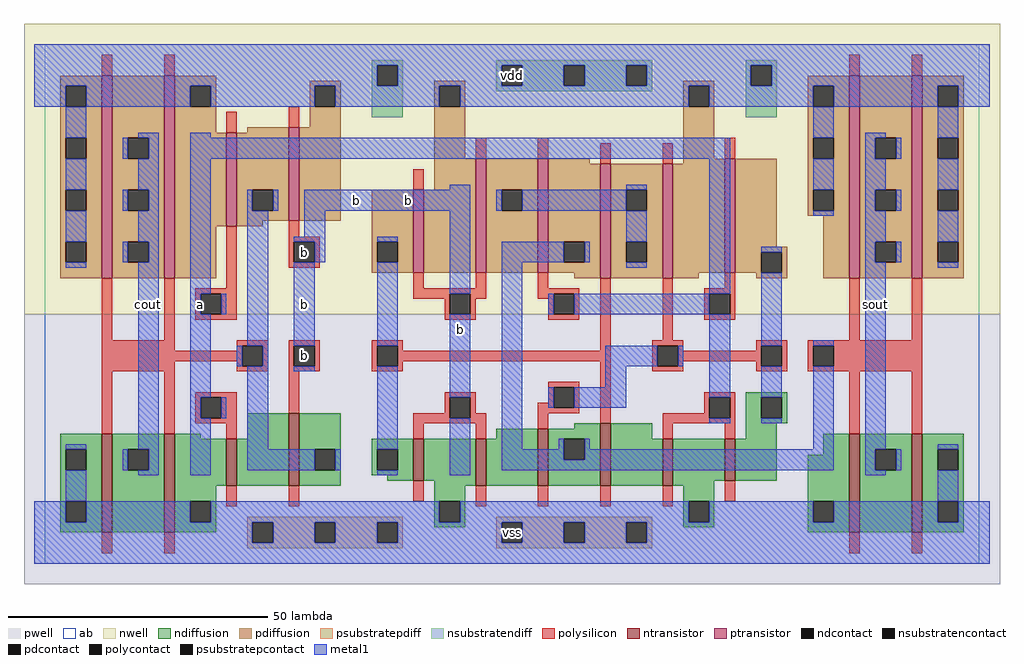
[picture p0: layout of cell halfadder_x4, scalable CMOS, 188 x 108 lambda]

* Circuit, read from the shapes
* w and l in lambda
.subckt halfadder_x4 a b cout sout vdd vss
M1 cout n1 vss vss nfet w=19 l=2 m=2
M2 n2 a vss vss nfet w=9 l=2
M3 n1 b n2 vss nfet w=14 l=2
M4 vss b n3 vss nfet w=8 l=2
M5 n4 b vss vss nfet w=9 l=2
M6 n5 n6 n4 vss nfet w=11 l=2
M7 n7 n3 n5 vss nfet w=12 l=2
M8 vss a n7 vss nfet w=9 l=2
M9 n6 a vss vss nfet w=8 l=2
M10 sout n5 vss vss nfet w=19 l=2 m=2
M11 cout n1 vdd vdd pfet w=39 l=2 m=2
M12 n1 a vdd vdd pfet w=18 l=2
M13 vdd b n1 vdd pfet w=18 l=2
M14 vdd b n3 vdd pfet w=16 l=2
M15 n8 b vdd vdd pfet w=22 l=2
M16 n5 a n8 vdd pfet w=22 l=2
M17 n8 n3 n5 vdd pfet w=22 l=2
M18 vdd n6 n8 vdd pfet w=22 l=2
M19 n6 a vdd vdd pfet w=22 l=2
M20 sout n5 vdd vdd pfet w=39 l=2 m=2
.ends

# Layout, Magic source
magic
tech scmos
<< ab >>
rect 0 0 180 100
<< pwell >>
rect -4 -4 184 48
<< nwell >>
rect -4 48 184 104
<< polysilicon >>
rect 11 94 13 98
rect 23 94 25 98
rect 35 83 37 87
rect 47 84 49 88
rect 83 78 85 82
rect 95 78 97 82
rect 71 72 73 76
rect 11 43 13 55
rect 23 43 25 55
rect 35 53 37 65
rect 47 63 49 66
rect 47 62 53 63
rect 47 58 48 62
rect 52 58 53 62
rect 47 57 53 58
rect 107 77 109 81
rect 119 77 121 81
rect 155 94 157 98
rect 167 94 169 98
rect 131 78 133 82
rect 29 52 37 53
rect 29 48 30 52
rect 34 48 37 52
rect 71 53 73 56
rect 83 53 85 56
rect 71 52 85 53
rect 71 51 78 52
rect 29 47 37 48
rect 77 48 78 51
rect 82 51 85 52
rect 95 53 97 56
rect 95 52 103 53
rect 95 51 98 52
rect 82 48 83 51
rect 77 47 83 48
rect 97 48 98 51
rect 102 48 103 52
rect 97 47 103 48
rect 11 41 25 43
rect 37 42 43 43
rect 37 41 38 42
rect 11 39 38 41
rect 11 37 25 39
rect 37 38 38 39
rect 42 38 43 42
rect 37 37 43 38
rect 47 42 53 43
rect 47 38 48 42
rect 52 38 53 42
rect 47 37 53 38
rect 63 42 69 43
rect 63 38 64 42
rect 68 41 69 42
rect 107 41 109 55
rect 119 43 121 55
rect 131 53 133 56
rect 127 52 133 53
rect 127 48 128 52
rect 132 48 133 52
rect 127 47 133 48
rect 155 43 157 55
rect 167 43 169 55
rect 68 39 109 41
rect 68 38 69 39
rect 63 37 69 38
rect 11 25 13 37
rect 23 25 25 37
rect 29 32 37 33
rect 29 28 30 32
rect 34 28 37 32
rect 47 29 49 37
rect 97 34 103 35
rect 77 32 83 33
rect 77 29 78 32
rect 29 27 37 28
rect 35 24 37 27
rect 71 28 78 29
rect 82 29 83 32
rect 97 31 98 34
rect 95 30 98 31
rect 102 30 103 34
rect 95 29 103 30
rect 82 28 85 29
rect 71 27 85 28
rect 71 24 73 27
rect 83 24 85 27
rect 95 26 97 29
rect 107 27 109 39
rect 117 42 123 43
rect 117 38 118 42
rect 122 41 123 42
rect 137 42 143 43
rect 137 41 138 42
rect 122 39 138 41
rect 122 38 123 39
rect 117 37 123 38
rect 137 38 138 39
rect 142 38 143 42
rect 137 37 143 38
rect 147 42 169 43
rect 147 38 148 42
rect 152 38 169 42
rect 147 37 169 38
rect 127 32 133 33
rect 127 29 128 32
rect 119 28 128 29
rect 132 28 133 32
rect 119 27 133 28
rect 35 11 37 15
rect 47 11 49 15
rect 71 12 73 16
rect 119 24 121 27
rect 131 24 133 27
rect 155 25 157 37
rect 167 25 169 37
rect 11 2 13 6
rect 23 2 25 6
rect 83 11 85 15
rect 95 11 97 15
rect 107 11 109 15
rect 119 11 121 15
rect 131 12 133 16
rect 155 2 157 6
rect 167 2 169 6
<< ndiffusion >>
rect 3 22 11 25
rect 3 18 4 22
rect 8 18 11 22
rect 3 12 11 18
rect 3 8 4 12
rect 8 8 11 12
rect 3 6 11 8
rect 13 22 23 25
rect 13 18 16 22
rect 20 18 23 22
rect 13 6 23 18
rect 25 24 30 25
rect 39 24 47 29
rect 25 15 35 24
rect 37 15 47 24
rect 49 22 57 29
rect 102 26 107 27
rect 87 24 95 26
rect 49 18 52 22
rect 56 18 57 22
rect 49 15 57 18
rect 63 22 71 24
rect 63 18 64 22
rect 68 18 71 22
rect 63 17 71 18
rect 66 16 71 17
rect 73 16 83 24
rect 25 12 33 15
rect 25 8 28 12
rect 32 8 33 12
rect 75 15 83 16
rect 85 15 95 24
rect 97 24 107 26
rect 97 20 100 24
rect 104 20 107 24
rect 97 15 107 20
rect 109 24 117 27
rect 135 32 143 33
rect 135 28 138 32
rect 142 28 143 32
rect 135 27 143 28
rect 135 24 141 27
rect 109 15 119 24
rect 121 16 131 24
rect 133 16 141 24
rect 150 21 155 25
rect 121 15 129 16
rect 75 12 81 15
rect 25 6 33 8
rect 75 8 76 12
rect 80 8 81 12
rect 123 12 129 15
rect 147 12 155 21
rect 75 7 81 8
rect 123 8 124 12
rect 128 8 129 12
rect 123 7 129 8
rect 147 8 148 12
rect 152 8 155 12
rect 147 6 155 8
rect 157 22 167 25
rect 157 18 160 22
rect 164 18 167 22
rect 157 6 167 18
rect 169 22 177 25
rect 169 18 172 22
rect 176 18 177 22
rect 169 12 177 18
rect 169 8 172 12
rect 176 8 177 12
rect 169 6 177 8
<< pdiffusion >>
rect 3 92 11 94
rect 3 88 4 92
rect 8 88 11 92
rect 3 82 11 88
rect 3 78 4 82
rect 8 78 11 82
rect 3 72 11 78
rect 3 68 4 72
rect 8 68 11 72
rect 3 62 11 68
rect 3 58 4 62
rect 8 58 11 62
rect 3 55 11 58
rect 13 82 23 94
rect 13 78 16 82
rect 20 78 23 82
rect 13 72 23 78
rect 13 68 16 72
rect 20 68 23 72
rect 13 62 23 68
rect 13 58 16 62
rect 20 58 23 62
rect 13 55 23 58
rect 25 92 33 94
rect 25 88 28 92
rect 32 88 33 92
rect 51 92 57 93
rect 51 88 52 92
rect 56 88 57 92
rect 25 83 33 88
rect 51 84 57 88
rect 75 92 81 93
rect 75 88 76 92
rect 80 88 81 92
rect 123 92 129 93
rect 39 83 47 84
rect 25 65 35 83
rect 37 72 47 83
rect 37 68 40 72
rect 44 68 47 72
rect 37 66 47 68
rect 49 66 57 84
rect 75 78 81 88
rect 123 88 124 92
rect 128 88 129 92
rect 75 72 83 78
rect 37 65 42 66
rect 25 55 33 65
rect 63 62 71 72
rect 63 58 64 62
rect 68 58 71 62
rect 63 56 71 58
rect 73 56 83 72
rect 85 72 95 78
rect 85 68 88 72
rect 92 68 95 72
rect 85 56 95 68
rect 97 77 105 78
rect 123 78 129 88
rect 147 92 155 94
rect 147 88 148 92
rect 152 88 155 92
rect 147 82 155 88
rect 147 78 148 82
rect 152 78 155 82
rect 123 77 131 78
rect 97 62 107 77
rect 97 58 100 62
rect 104 58 107 62
rect 97 56 107 58
rect 102 55 107 56
rect 109 72 119 77
rect 109 68 112 72
rect 116 68 119 72
rect 109 62 119 68
rect 109 58 112 62
rect 116 58 119 62
rect 109 55 119 58
rect 121 56 131 77
rect 133 61 141 78
rect 147 72 155 78
rect 147 68 148 72
rect 152 68 155 72
rect 147 67 155 68
rect 133 60 143 61
rect 133 56 138 60
rect 142 56 143 60
rect 121 55 126 56
rect 137 55 143 56
rect 150 55 155 67
rect 157 82 167 94
rect 157 78 160 82
rect 164 78 167 82
rect 157 72 167 78
rect 157 68 160 72
rect 164 68 167 72
rect 157 62 167 68
rect 157 58 160 62
rect 164 58 167 62
rect 157 55 167 58
rect 169 92 177 94
rect 169 88 172 92
rect 176 88 177 92
rect 169 82 177 88
rect 169 78 172 82
rect 176 78 177 82
rect 169 72 177 78
rect 169 68 172 72
rect 176 68 177 72
rect 169 62 177 68
rect 169 58 172 62
rect 176 58 177 62
rect 169 55 177 58
<< metal1 >>
rect -2 96 182 100
rect -2 92 64 96
rect 68 92 88 96
rect 92 92 100 96
rect 104 92 112 96
rect 116 92 136 96
rect 140 92 182 96
rect -2 88 4 92
rect 8 88 28 92
rect 32 88 52 92
rect 56 88 76 92
rect 80 88 124 92
rect 128 88 148 92
rect 152 88 172 92
rect 176 88 182 92
rect 4 82 8 88
rect 18 82 22 83
rect 15 78 16 82
rect 20 78 22 82
rect 4 72 8 78
rect 18 72 22 78
rect 15 68 16 72
rect 20 68 22 72
rect 4 62 8 68
rect 18 62 22 68
rect 15 58 16 62
rect 20 58 22 62
rect 4 57 8 58
rect 4 22 8 23
rect 18 22 22 58
rect 15 18 16 22
rect 20 18 22 22
rect 4 12 8 18
rect 18 17 22 18
rect 28 82 32 83
rect 148 82 152 88
rect 28 78 132 82
rect 28 52 32 78
rect 78 72 82 73
rect 112 72 116 73
rect 39 68 40 72
rect 44 68 45 72
rect 50 68 82 72
rect 87 68 88 72
rect 92 68 112 72
rect 28 48 30 52
rect 34 48 35 52
rect 28 32 32 48
rect 39 42 43 68
rect 50 63 54 68
rect 37 38 38 42
rect 42 38 43 42
rect 28 28 30 32
rect 34 28 35 32
rect 28 17 32 28
rect 39 22 43 38
rect 48 62 54 63
rect 52 58 54 62
rect 64 62 68 63
rect 48 42 52 58
rect 48 37 52 38
rect 64 42 68 58
rect 64 22 68 38
rect 39 18 52 22
rect 56 18 57 22
rect 64 17 68 18
rect 78 52 82 68
rect 112 62 116 68
rect 78 32 82 48
rect 78 17 82 28
rect 88 58 100 62
rect 104 58 105 62
rect 88 22 92 58
rect 112 57 116 58
rect 128 52 132 78
rect 148 72 152 78
rect 148 67 152 68
rect 158 82 162 83
rect 172 82 176 88
rect 158 78 160 82
rect 164 78 165 82
rect 158 72 162 78
rect 172 72 176 78
rect 158 68 160 72
rect 164 68 165 72
rect 158 62 162 68
rect 172 62 176 68
rect 97 48 98 52
rect 102 48 128 52
rect 108 38 118 42
rect 122 38 123 42
rect 108 34 112 38
rect 97 30 98 34
rect 102 30 112 34
rect 128 32 132 48
rect 128 27 132 28
rect 138 60 142 61
rect 138 42 142 56
rect 158 58 160 62
rect 164 58 165 62
rect 138 32 142 38
rect 138 27 142 28
rect 148 42 152 43
rect 99 22 100 24
rect 88 20 100 22
rect 104 22 105 24
rect 148 22 152 38
rect 104 20 152 22
rect 88 18 152 20
rect 158 22 162 58
rect 172 57 176 58
rect 172 22 176 23
rect 158 18 160 22
rect 164 18 165 22
rect 158 17 162 18
rect 172 12 176 18
rect -2 8 4 12
rect 8 8 28 12
rect 32 8 76 12
rect 80 8 124 12
rect 128 8 148 12
rect 152 8 172 12
rect 176 8 182 12
rect -2 4 40 8
rect 44 4 52 8
rect 56 4 64 8
rect 68 4 88 8
rect 92 4 100 8
rect 104 4 112 8
rect 116 4 182 8
rect -2 0 182 4
<< ntransistor >>
rect 11 6 13 25
rect 23 6 25 25
rect 35 15 37 24
rect 47 15 49 29
rect 71 16 73 24
rect 83 15 85 24
rect 95 15 97 26
rect 107 15 109 27
rect 119 15 121 24
rect 131 16 133 24
rect 155 6 157 25
rect 167 6 169 25
<< ptransistor >>
rect 11 55 13 94
rect 23 55 25 94
rect 35 65 37 83
rect 47 66 49 84
rect 71 56 73 72
rect 83 56 85 78
rect 95 56 97 78
rect 107 55 109 77
rect 119 55 121 77
rect 131 56 133 78
rect 155 55 157 94
rect 167 55 169 94
<< polycontact >>
rect 48 58 52 62
rect 30 48 34 52
rect 78 48 82 52
rect 98 48 102 52
rect 38 38 42 42
rect 48 38 52 42
rect 64 38 68 42
rect 128 48 132 52
rect 30 28 34 32
rect 78 28 82 32
rect 98 30 102 34
rect 118 38 122 42
rect 138 38 142 42
rect 148 38 152 42
rect 128 28 132 32
<< ndcontact >>
rect 4 18 8 22
rect 4 8 8 12
rect 16 18 20 22
rect 52 18 56 22
rect 64 18 68 22
rect 28 8 32 12
rect 100 20 104 24
rect 138 28 142 32
rect 76 8 80 12
rect 124 8 128 12
rect 148 8 152 12
rect 160 18 164 22
rect 172 18 176 22
rect 172 8 176 12
<< pdcontact >>
rect 4 88 8 92
rect 4 78 8 82
rect 4 68 8 72
rect 4 58 8 62
rect 16 78 20 82
rect 16 68 20 72
rect 16 58 20 62
rect 28 88 32 92
rect 52 88 56 92
rect 76 88 80 92
rect 40 68 44 72
rect 124 88 128 92
rect 64 58 68 62
rect 88 68 92 72
rect 148 88 152 92
rect 148 78 152 82
rect 100 58 104 62
rect 112 68 116 72
rect 112 58 116 62
rect 148 68 152 72
rect 138 56 142 60
rect 160 78 164 82
rect 160 68 164 72
rect 160 58 164 62
rect 172 88 176 92
rect 172 78 176 82
rect 172 68 176 72
rect 172 58 176 62
<< psubstratepcontact >>
rect 40 4 44 8
rect 52 4 56 8
rect 64 4 68 8
rect 88 4 92 8
rect 100 4 104 8
rect 112 4 116 8
<< nsubstratencontact >>
rect 64 92 68 96
rect 88 92 92 96
rect 100 92 104 96
rect 112 92 116 96
rect 136 92 140 96
<< psubstratepdiff >>
rect 39 8 69 9
rect 39 4 40 8
rect 44 4 52 8
rect 56 4 64 8
rect 68 4 69 8
rect 87 8 117 9
rect 39 3 69 4
rect 87 4 88 8
rect 92 4 100 8
rect 104 4 112 8
rect 116 4 117 8
rect 87 3 117 4
<< nsubstratendiff >>
rect 63 96 69 97
rect 63 92 64 96
rect 68 92 69 96
rect 87 96 117 97
rect 63 86 69 92
rect 87 92 88 96
rect 92 92 100 96
rect 104 92 112 96
rect 116 92 117 96
rect 135 96 141 97
rect 87 91 117 92
rect 135 92 136 96
rect 140 92 141 96
rect 135 86 141 92
<< labels >>
rlabel metal1 30 50 30 50 6 a
rlabel metal1 20 50 20 50 6 cout
rlabel polycontact 50 40 50 40 6 b
rlabel metal1 50 50 50 50 6 b
rlabel polycontact 50 60 50 60 6 b
rlabel metal1 60 70 60 70 6 b
rlabel psubstratepcontact 90 6 90 6 6 vss
rlabel metal1 80 45 80 45 6 b
rlabel metal1 70 70 70 70 6 b
rlabel nsubstratencontact 90 94 90 94 6 vdd
rlabel metal1 160 50 160 50 6 sout
<< end >>
